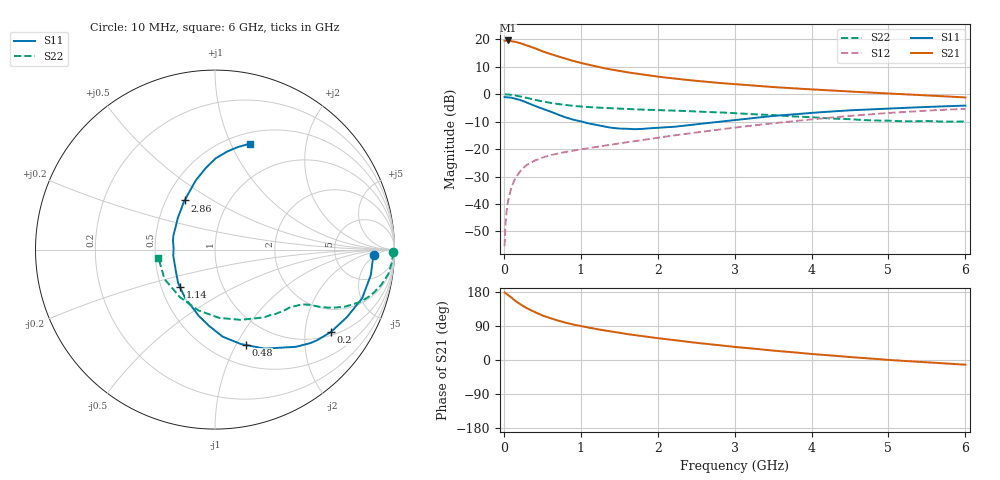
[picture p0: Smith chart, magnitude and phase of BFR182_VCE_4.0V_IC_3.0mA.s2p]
! Infineon Technologies  Discrete & RF Semiconductors
! BFR182
! VCE =  4.0 V,  IC =  3.0 mA
! Common Emitter S-Parameters:  Nov 2015
# GHz  S  MA  R  50
!  f  S11  S21  S12  S22
! GHz  MAG  ANG  MAG  ANG  MAG  ANG  MAG  ANG
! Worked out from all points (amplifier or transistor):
!   210 points, 10 MHz to 6 GHz, reference 50 ohm
!   highest |S21| = 19.6 dB at 50 MHz (marker M1)
!   |S21| within 3 dB of that: start of sweep to 419.3 MHz
!   unconditionally stable (mu >= 1): 1.302 GHz to 2.988 GHz
!   at 185 MHz: K = 0.24, MSG = 24.0 dB, |S12| = -29.1 dB
!   at 1.52 GHz: K = 1.05, MAG = 11.8 dB, |S12| = -17.9 dB
!   at 6 GHz: K = 0.88, MSG = 2.1 dB, |S12| = -5.3 dB
!   S11 on the Smith chart (normalised r, x): 10 MHz: 15, -4; 200 MHz: 1.11, -2.73; 480 MHz: 0.71, -1.10; 1.14 GHz: 0.62, -0.28; 2.86 GHz: 0.62, +0.38; 6 GHz: 0.62, +1.18
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0.01  0.8858 -1.8  9.385 178.5  0.0017 91.8  0.9943 -0.9
0.02  0.8812 -3.4  9.405 176.6  0.004 84.0  0.9913 -1.7
0.05  0.8796 -9.3  9.535 171.9  0.0102 86.1  0.9879 -4.2
0.095  0.8642 -17.4  9.241 165.2  0.0191 81.7  0.9761 -7.7
0.15  0.8257 -27.1  9.023 155.8  0.0294 74.6  0.9475 -11.9
0.2  0.7924 -35.4  8.651 149.0  0.0373 71.3  0.9174 -15.1
0.3  0.7042 -50.3  7.75 136.4  0.0515 65.0  0.8546 -20.1
0.4  0.617 -63.4  6.932 126.5  0.0615 60.3  0.791 -23.7
0.48  0.5579 -72.2  6.216 119.5  0.068 57.8  0.749 -25.5
0.5  0.5454 -74.7  6.054 117.5  0.0697 57.2  0.7386 -26.0
0.6  0.4867 -85.0  5.431 110.6  0.0772 55.4  0.6987 -27.5
0.7  0.4276 -94.2  4.916 104.2  0.0827 54.3  0.6637 -28.7
0.84  0.3646 -106.9  4.277 96.6  0.0904 53.8  0.6266 -29.8
1.02  0.3143 -122.4  3.662 88.7  0.0996 54.4  0.5934 -31.1
1.14  0.2862 -132.9  3.35 84.1  0.1061 54.7  0.5783 -32.1
1.58  0.2348 -169.5  2.542 69.2  0.132 56.7  0.5401 -35.9
2.02  0.2451 160.1  2.072 57.1  0.1624 57.8  0.5141 -41.1
2.86  0.322 121.7  1.578 37.7  0.2326 56.4  0.4622 -54.9
3.1  0.3497 114.5  1.484 32.7  0.2555 54.9  0.4424 -60.0
4.1  0.4673 94.9  1.201 14.4  0.3581 46.5  0.3721 -90.0
5.1  0.5558 82.0  1.018 -1.0  0.4645 34.2  0.3243 -131.2
6  0.6203 71.9  0.874 -12.3  0.5413 20.7  0.3192 -171.8
